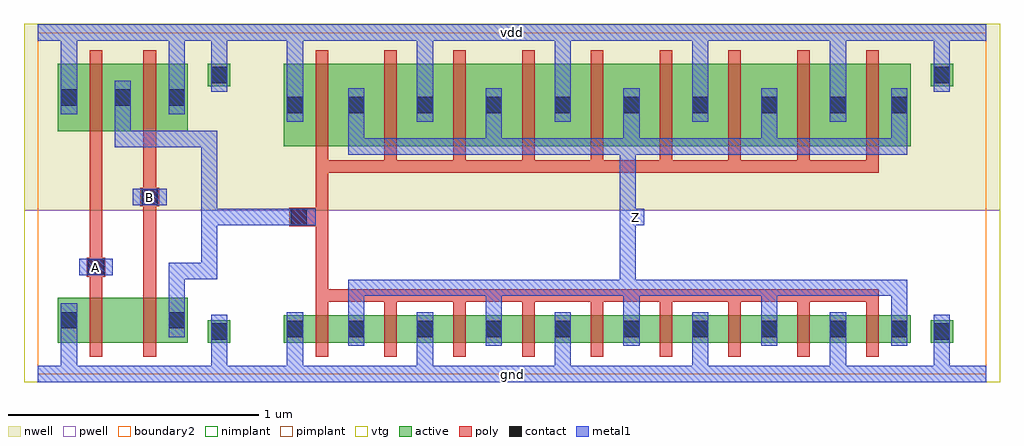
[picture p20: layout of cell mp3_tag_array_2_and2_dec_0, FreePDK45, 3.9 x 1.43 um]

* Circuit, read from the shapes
.subckt mp3_tag_array_2_and2_dec_0 A B Z gnd vdd
M1 mp3_tag_array_2_pnand2_0/mp3_tag_array_2_nmos_m1_w0_180_sm1_dactive_2/D A gnd gnd nfet w=0.18u l=0.05u
M2 mp3_tag_array_2_pinv_0_1/A B mp3_tag_array_2_pnand2_0/mp3_tag_array_2_nmos_m1_w0_180_sm1_dactive_2/D gnd nfet w=0.18u l=0.05u
M3 Z mp3_tag_array_2_pinv_0_1/A gnd gnd nfet w=0.11u l=0.05u m=9
M4 mp3_tag_array_2_pinv_0_1/A A vdd vdd pfet w=0.27u l=0.05u
M5 vdd B mp3_tag_array_2_pinv_0_1/A vdd pfet w=0.27u l=0.05u
M6 Z mp3_tag_array_2_pinv_0_1/A vdd vdd pfet w=0.33u l=0.05u m=9
.ends

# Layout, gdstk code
import gdstk
lib = gdstk.Library(unit=1e-6, precision=5e-10)
def R(c, l, rs):  # rectangles x0, y0, x1, y1
    for r in rs: c.add(gdstk.rectangle(r[:2], r[2:], *l))
def A(c, l, x, y, w, h, nx, ny, dx, dy):  # array of equal rectangles
    R(c, l, [(x+i*dx, y+j*dy, x+i*dx+w, y+j*dy+h) for i in range(nx) for j in range(ny)])
active = (1, 0)
pwell = (2, 0)
nwell = (3, 0)
nimplant = (4, 0)
pimplant = (5, 0)
vtg = (6, 0)
poly = (9, 0)
contact = (10, 0)
metal1 = (11, 0)
boundary2 = (239, 0)

mp3_tag_array_2_contact_ = lib.new_cell('mp3_tag_array_2_contact_11')
R(mp3_tag_array_2_contact_, active, [(0,0.0225,0.09,0.1125)])
R(mp3_tag_array_2_contact_, nwell, [(-0.055,-0.0325,0.145,0.1675)])
R(mp3_tag_array_2_contact_, pimplant, [(0,0.0225,0.09,0.1125)])
R(mp3_tag_array_2_contact_, contact, [(0.0125,0.035,0.0775,0.1)])
R(mp3_tag_array_2_contact_, metal1, [(0.0125,0,0.0775,0.135)])
R(mp3_tag_array_2_contact_, boundary2, [(-0.055,-0.0325,0.145,0.1675)])

mp3_tag_array_2_pmos_m1_ = lib.new_cell('mp3_tag_array_2_pmos_m1_w0_270_sm1_dm1')
R(mp3_tag_array_2_pmos_m1_, active, [(0,0,0.305,0.27)])
R(mp3_tag_array_2_pmos_m1_, nwell, [(-0.08,-0.08,0.385,0.35)])
R(mp3_tag_array_2_pmos_m1_, pimplant, [(0,0,0.305,0.27)])
R(mp3_tag_array_2_pmos_m1_, vtg, [(-0.08,-0.08,0.385,0.35)])
R(mp3_tag_array_2_pmos_m1_, poly, [(0.1275,-0.055,0.1775,0.325), (0.1275,-0.055,0.1775,0.325)])
R(mp3_tag_array_2_pmos_m1_, metal1, [(0.0125,0.0675,0.0775,0.2025), (0.2275,0.0675,0.2925,0.2025)])
R(mp3_tag_array_2_pmos_m1_, boundary2, [(-0.08,-0.08,0.385,0.35)])
mp3_tag_array_2_pmos_m1_.add(gdstk.Reference(mp3_tag_array_2_contact_, (0,0.0675)))
mp3_tag_array_2_pmos_m1_.add(gdstk.Reference(mp3_tag_array_2_contact_, (0.215,0.0675)))
mp3_tag_array_2_pmos_m1_.add(gdstk.Label('G', (0.1525,0.135), layer=9, texttype=0))
mp3_tag_array_2_pmos_m1_.add(gdstk.Label('S', (0.045,0.135), layer=11, texttype=0))
mp3_tag_array_2_pmos_m1_.add(gdstk.Label('D', (0.26,0.135), layer=11, texttype=0))

c_mp3_tag_array_2_contact_ = lib.new_cell('mp3_tag_array_2_contact_10')
R(c_mp3_tag_array_2_contact_, active, [(0,0.0225,0.09,0.1125)])
R(c_mp3_tag_array_2_contact_, pwell, [(-0.055,-0.0325,0.145,0.1675)])
R(c_mp3_tag_array_2_contact_, nimplant, [(0,0.0225,0.09,0.1125)])
R(c_mp3_tag_array_2_contact_, contact, [(0.0125,0.035,0.0775,0.1)])
R(c_mp3_tag_array_2_contact_, metal1, [(0.0125,0,0.0775,0.135)])
R(c_mp3_tag_array_2_contact_, boundary2, [(-0.055,-0.0325,0.145,0.1675)])

mp3_tag_array_2_nmos_m1_ = lib.new_cell('mp3_tag_array_2_nmos_m1_w0_180_sm1_dactive')
R(mp3_tag_array_2_nmos_m1_, active, [(0,0,0.305,0.18), (0.215,0.045,0.305,0.135)])
R(mp3_tag_array_2_nmos_m1_, pwell, [(-0.08,-0.08,0.385,0.26)])
R(mp3_tag_array_2_nmos_m1_, nimplant, [(0,0,0.305,0.18)])
R(mp3_tag_array_2_nmos_m1_, vtg, [(-0.08,-0.08,0.385,0.26)])
R(mp3_tag_array_2_nmos_m1_, poly, [(0.1275,-0.055,0.1775,0.235), (0.1275,-0.055,0.1775,0.235)])
R(mp3_tag_array_2_nmos_m1_, metal1, [(0.0125,0.0225,0.0775,0.1575)])
R(mp3_tag_array_2_nmos_m1_, boundary2, [(-0.08,-0.08,0.385,0.26)])
mp3_tag_array_2_nmos_m1_.add(gdstk.Reference(c_mp3_tag_array_2_contact_, (0,0.0225)))
mp3_tag_array_2_nmos_m1_.add(gdstk.Label('G', (0.1525,0.09), layer=9, texttype=0))
mp3_tag_array_2_nmos_m1_.add(gdstk.Label('S', (0.045,0.09), layer=11, texttype=0))
mp3_tag_array_2_nmos_m1_.add(gdstk.Label('D', (0.26,0.09), layer=1, texttype=0))

c_mp3_tag_array_2_nmos_m1_ = lib.new_cell('mp3_tag_array_2_nmos_m1_w0_180_sactive_dm1')
R(c_mp3_tag_array_2_nmos_m1_, active, [(0,0,0.305,0.18), (0,0.045,0.09,0.135)])
R(c_mp3_tag_array_2_nmos_m1_, pwell, [(-0.08,-0.08,0.385,0.26)])
R(c_mp3_tag_array_2_nmos_m1_, nimplant, [(0,0,0.305,0.18)])
R(c_mp3_tag_array_2_nmos_m1_, vtg, [(-0.08,-0.08,0.385,0.26)])
R(c_mp3_tag_array_2_nmos_m1_, poly, [(0.1275,-0.055,0.1775,0.235), (0.1275,-0.055,0.1775,0.235)])
R(c_mp3_tag_array_2_nmos_m1_, metal1, [(0.2275,0.0225,0.2925,0.1575)])
R(c_mp3_tag_array_2_nmos_m1_, boundary2, [(-0.08,-0.08,0.385,0.26)])
c_mp3_tag_array_2_nmos_m1_.add(gdstk.Reference(c_mp3_tag_array_2_contact_, (0.215,0.0225)))
c_mp3_tag_array_2_nmos_m1_.add(gdstk.Label('G', (0.1525,0.09), layer=9, texttype=0))
c_mp3_tag_array_2_nmos_m1_.add(gdstk.Label('S', (0.045,0.09), layer=1, texttype=0))
c_mp3_tag_array_2_nmos_m1_.add(gdstk.Label('D', (0.26,0.09), layer=11, texttype=0))

c_mp3_tag_array_2_contact__ = lib.new_cell('mp3_tag_array_2_contact_12')
R(c_mp3_tag_array_2_contact__, active, [(0,0.0225,0.09,0.1125)])
R(c_mp3_tag_array_2_contact__, nwell, [(-0.055,-0.0325,0.145,0.1675)])
R(c_mp3_tag_array_2_contact__, nimplant, [(0,0.0225,0.09,0.1125)])
R(c_mp3_tag_array_2_contact__, contact, [(0.0125,0.035,0.0775,0.1)])
R(c_mp3_tag_array_2_contact__, metal1, [(0.0125,0,0.0775,0.135)])
R(c_mp3_tag_array_2_contact__, boundary2, [(-0.055,-0.0325,0.145,0.1675)])

c_mp3_tag_array_2_contact___ = lib.new_cell('mp3_tag_array_2_contact_13')
R(c_mp3_tag_array_2_contact___, active, [(0,0.0225,0.09,0.1125)])
R(c_mp3_tag_array_2_contact___, pwell, [(-0.055,-0.0325,0.145,0.1675)])
R(c_mp3_tag_array_2_contact___, pimplant, [(0,0.0225,0.09,0.1125)])
R(c_mp3_tag_array_2_contact___, contact, [(0.0125,0.035,0.0775,0.1)])
R(c_mp3_tag_array_2_contact___, metal1, [(0.0125,0,0.0775,0.135)])
R(c_mp3_tag_array_2_contact___, boundary2, [(-0.055,-0.0325,0.145,0.1675)])

c_mp3_tag_array_2_contact____ = lib.new_cell('mp3_tag_array_2_contact_14')
R(c_mp3_tag_array_2_contact____, poly, [(0.03,0,0.105,0.075)])
R(c_mp3_tag_array_2_contact____, contact, [(0.035,0.005,0.1,0.07)])
R(c_mp3_tag_array_2_contact____, metal1, [(0,0.005,0.135,0.07)])
R(c_mp3_tag_array_2_contact____, boundary2, [(0,0,0.135,0.075)])

mp3_tag_array_2_pnand2 = lib.new_cell('mp3_tag_array_2_pnand2')
R(mp3_tag_array_2_pnand2, pwell, [(-0.055,-0.0325,0.9575,0.655)])
R(mp3_tag_array_2_pnand2, nwell, [(-0.055,0.655,0.9575,1.4)])
R(mp3_tag_array_2_pnand2, vtg, [(-0.055,-0.0325,0.9575,0.655), (-0.055,0.655,0.9575,1.4)])
R(mp3_tag_array_2_pnand2, poly, [(0.2075,0.36,0.2575,0.915), (0.4225,0.36,0.4725,0.915), (0.2075,0.39,0.2325,0.465), (0.4225,0.67,0.4475,0.745)])
R(mp3_tag_array_2_pnand2, metal1, [(0,-0.0325,0.9025,0.0325), (0.0925,-0.0325,0.1575,0.1475), (0.6925,0,0.7575,0.17), (0.5225,0.2825,0.5875,0.4125), (0.5225,0.38,0.5875,0.445), (0.555,0.38,0.685,0.445), (0.6525,0.38,0.7175,0.445), (0.165,0.395,0.3,0.46), (0.6525,0.4125,0.7175,0.94), (0.38,0.675,0.515,0.74), (0.3075,0.9075,0.3725,0.9725), (0.34,0.9075,0.685,0.9725), (0.6525,0.9075,0.7175,0.9725), (0.3075,0.94,0.3725,1.0375), (0.0925,1.0375,0.1575,1.3975), (0.5225,1.0375,0.5875,1.3975), (0.6925,1.195,0.7575,1.365), (0,1.3325,0.9025,1.3975)])
R(mp3_tag_array_2_pnand2, boundary2, [(0,0,0.9025,1.365), (0,0,0.9025,1.365)])
mp3_tag_array_2_pnand2.add(gdstk.Reference(mp3_tag_array_2_pmos_m1_, (0.08,0.97)))
mp3_tag_array_2_pnand2.add(gdstk.Reference(mp3_tag_array_2_pmos_m1_, (0.295,0.97)))
mp3_tag_array_2_pnand2.add(gdstk.Reference(mp3_tag_array_2_nmos_m1_, (0.08,0.125)))
mp3_tag_array_2_pnand2.add(gdstk.Reference(c_mp3_tag_array_2_nmos_m1_, (0.295,0.125)))
mp3_tag_array_2_pnand2.add(gdstk.Reference(c_mp3_tag_array_2_contact__, (0.68,1.1275)))
mp3_tag_array_2_pnand2.add(gdstk.Reference(c_mp3_tag_array_2_contact___, (0.68,0.1025)))
mp3_tag_array_2_pnand2.add(gdstk.Reference(c_mp3_tag_array_2_contact____, (0.165,0.39)))
mp3_tag_array_2_pnand2.add(gdstk.Reference(c_mp3_tag_array_2_contact____, (0.38,0.67)))
mp3_tag_array_2_pnand2.add(gdstk.Label('Z', (0.685,0.94), layer=11, texttype=0))
mp3_tag_array_2_pnand2.add(gdstk.Label('gnd', (0.451,0), layer=11, texttype=0))
mp3_tag_array_2_pnand2.add(gdstk.Label('vdd', (0.451,1.365), layer=11, texttype=0))
mp3_tag_array_2_pnand2.add(gdstk.Label('A', (0.2325,0.4275), layer=11, texttype=0))
mp3_tag_array_2_pnand2.add(gdstk.Label('B', (0.4475,0.7075), layer=11, texttype=0))

mp3_tag_array_2_pmos_m9_ = lib.new_cell('mp3_tag_array_2_pmos_m9_w0_330_sm1_dm1_da_p')
R(mp3_tag_array_2_pmos_m9_, active, [(0,0,2.505,0.33)])
R(mp3_tag_array_2_pmos_m9_, nwell, [(-0.08,-0.08,2.585,0.41)])
R(mp3_tag_array_2_pmos_m9_, pimplant, [(0,0,2.505,0.33)])
R(mp3_tag_array_2_pmos_m9_, vtg, [(-0.08,-0.08,2.585,0.41)])
A(mp3_tag_array_2_pmos_m9_, poly, 0.1275, -0.055, 0.05, 0.44, 9, 1, 0.275, 0)
R(mp3_tag_array_2_pmos_m9_, poly, [(0.1275,-0.105,2.3775,-0.055)])
A(mp3_tag_array_2_pmos_m9_, metal1, 0.2575, 0, 0.065, 0.165, 4, 1, 0.55, 0)
A(mp3_tag_array_2_pmos_m9_, metal1, 0.5325, 0.0975, 0.065, 0.135, 4, 1, 0.55, 0)
R(mp3_tag_array_2_pmos_m9_, metal1, [(0.2575,-0.0325,2.4925,0.0325), (2.4275,0,2.4925,0.165), (0.0125,0.0975,0.0775,0.2325)])
R(mp3_tag_array_2_pmos_m9_, boundary2, [(-0.08,-0.105,2.585,0.41)])
mp3_tag_array_2_pmos_m9_.add(gdstk.Reference(mp3_tag_array_2_contact_, (0,0.0975)))
mp3_tag_array_2_pmos_m9_.add(gdstk.Reference(mp3_tag_array_2_contact_, (0.245,0.0975)))
mp3_tag_array_2_pmos_m9_.add(gdstk.Reference(mp3_tag_array_2_contact_, (0.52,0.0975)))
mp3_tag_array_2_pmos_m9_.add(gdstk.Reference(mp3_tag_array_2_contact_, (0.795,0.0975)))
mp3_tag_array_2_pmos_m9_.add(gdstk.Reference(mp3_tag_array_2_contact_, (1.07,0.0975)))
mp3_tag_array_2_pmos_m9_.add(gdstk.Reference(mp3_tag_array_2_contact_, (1.345,0.0975)))
mp3_tag_array_2_pmos_m9_.add(gdstk.Reference(mp3_tag_array_2_contact_, (1.62,0.0975)))
mp3_tag_array_2_pmos_m9_.add(gdstk.Reference(mp3_tag_array_2_contact_, (1.895,0.0975)))
mp3_tag_array_2_pmos_m9_.add(gdstk.Reference(mp3_tag_array_2_contact_, (2.17,0.0975)))
mp3_tag_array_2_pmos_m9_.add(gdstk.Reference(mp3_tag_array_2_contact_, (2.415,0.0975)))
mp3_tag_array_2_pmos_m9_.add(gdstk.Label('G', (1.2525,-0.08), layer=9, texttype=0))
mp3_tag_array_2_pmos_m9_.add(gdstk.Label('S', (2.215,0.165), layer=11, texttype=0))
mp3_tag_array_2_pmos_m9_.add(gdstk.Label('S', (0.565,0.165), layer=11, texttype=0))
mp3_tag_array_2_pmos_m9_.add(gdstk.Label('S', (1.665,0.165), layer=11, texttype=0))
mp3_tag_array_2_pmos_m9_.add(gdstk.Label('S', (1.115,0.165), layer=11, texttype=0))
mp3_tag_array_2_pmos_m9_.add(gdstk.Label('S', (0.045,0.165), layer=11, texttype=0))
mp3_tag_array_2_pmos_m9_.add(gdstk.Label('D', (1.375,0), layer=11, texttype=0))

mp3_tag_array_2_nmos_m9_ = lib.new_cell('mp3_tag_array_2_nmos_m9_w0_110_sm1_dm1_da_p')
R(mp3_tag_array_2_nmos_m9_, active, [(0,0,2.505,0.11)])
R(mp3_tag_array_2_nmos_m9_, pwell, [(-0.08,-0.08,2.585,0.19)])
R(mp3_tag_array_2_nmos_m9_, nimplant, [(0,0,2.505,0.11)])
R(mp3_tag_array_2_nmos_m9_, vtg, [(-0.08,-0.08,2.585,0.19)])
A(mp3_tag_array_2_nmos_m9_, poly, 0.1275, -0.055, 0.05, 0.22, 9, 1, 0.275, 0)
R(mp3_tag_array_2_nmos_m9_, poly, [(0.1275,0.165,2.3775,0.215)])
A(mp3_tag_array_2_nmos_m9_, metal1, 0.5325, -0.0125, 0.065, 0.135, 4, 1, 0.55, 0)
A(mp3_tag_array_2_nmos_m9_, metal1, 0.2575, 0.055, 0.065, 0.165, 4, 1, 0.55, 0)
R(mp3_tag_array_2_nmos_m9_, metal1, [(0.0125,-0.0125,0.0775,0.1225), (2.4275,0.055,2.4925,0.22), (0.2575,0.1875,2.4925,0.2525)])
R(mp3_tag_array_2_nmos_m9_, boundary2, [(-0.08,-0.08,2.585,0.2525)])
mp3_tag_array_2_nmos_m9_.add(gdstk.Reference(c_mp3_tag_array_2_contact_, (0,-0.0125)))
mp3_tag_array_2_nmos_m9_.add(gdstk.Reference(c_mp3_tag_array_2_contact_, (0.245,-0.0125)))
mp3_tag_array_2_nmos_m9_.add(gdstk.Reference(c_mp3_tag_array_2_contact_, (0.52,-0.0125)))
mp3_tag_array_2_nmos_m9_.add(gdstk.Reference(c_mp3_tag_array_2_contact_, (0.795,-0.0125)))
mp3_tag_array_2_nmos_m9_.add(gdstk.Reference(c_mp3_tag_array_2_contact_, (1.07,-0.0125)))
mp3_tag_array_2_nmos_m9_.add(gdstk.Reference(c_mp3_tag_array_2_contact_, (1.345,-0.0125)))
mp3_tag_array_2_nmos_m9_.add(gdstk.Reference(c_mp3_tag_array_2_contact_, (1.62,-0.0125)))
mp3_tag_array_2_nmos_m9_.add(gdstk.Reference(c_mp3_tag_array_2_contact_, (1.895,-0.0125)))
mp3_tag_array_2_nmos_m9_.add(gdstk.Reference(c_mp3_tag_array_2_contact_, (2.17,-0.0125)))
mp3_tag_array_2_nmos_m9_.add(gdstk.Reference(c_mp3_tag_array_2_contact_, (2.415,-0.0125)))
mp3_tag_array_2_nmos_m9_.add(gdstk.Label('G', (1.2525,0.19), layer=9, texttype=0))
mp3_tag_array_2_nmos_m9_.add(gdstk.Label('S', (0.045,0.055), layer=11, texttype=0))
mp3_tag_array_2_nmos_m9_.add(gdstk.Label('S', (1.115,0.055), layer=11, texttype=0))
mp3_tag_array_2_nmos_m9_.add(gdstk.Label('S', (2.215,0.055), layer=11, texttype=0))
mp3_tag_array_2_nmos_m9_.add(gdstk.Label('S', (1.665,0.055), layer=11, texttype=0))
mp3_tag_array_2_nmos_m9_.add(gdstk.Label('S', (0.565,0.055), layer=11, texttype=0))
mp3_tag_array_2_nmos_m9_.add(gdstk.Label('D', (1.375,0.22), layer=11, texttype=0))

mp3_tag_array_2_pinv_0 = lib.new_cell('mp3_tag_array_2_pinv_0')
R(mp3_tag_array_2_pinv_0, pwell, [(-0.055,-0.0325,2.9425,0.655)])
R(mp3_tag_array_2_pinv_0, nwell, [(-0.055,0.655,2.9425,1.4)])
R(mp3_tag_array_2_pinv_0, vtg, [(-0.055,-0.0325,2.9425,0.655), (-0.055,0.655,2.9425,1.4)])
R(mp3_tag_array_2_pinv_0, poly, [(0.2075,0.34,0.2575,0.805), (0.14,0.59,0.2075,0.665)])
A(mp3_tag_array_2_pinv_0, metal1, 0.6125, -0.0325, 0.065, 0.145, 4, 1, 0.55, 0)
A(mp3_tag_array_2_pinv_0, metal1, 0.6125, 1.0075, 0.065, 0.39, 4, 1, 0.55, 0)
R(mp3_tag_array_2_pinv_0, metal1, [(0,-0.0325,2.8875,0.0325), (0.0925,-0.0325,0.1575,0.1125), (2.6775,0,2.7425,0.17), (1.4225,0.3125,1.4875,0.9425), (0.0725,0.595,0.2075,0.66), (1.455,0.595,1.52,0.66), (0.0925,1.0075,0.1575,1.3975), (2.6775,1.195,2.7425,1.365), (0,1.3325,2.8875,1.3975)])
R(mp3_tag_array_2_pinv_0, boundary2, [(0,0,2.8875,1.365), (0,0,2.8875,1.365)])
mp3_tag_array_2_pinv_0.add(gdstk.Reference(mp3_tag_array_2_pmos_m9_, (0.08,0.91)))
mp3_tag_array_2_pinv_0.add(gdstk.Reference(mp3_tag_array_2_nmos_m9_, (0.08,0.125)))
mp3_tag_array_2_pinv_0.add(gdstk.Reference(c_mp3_tag_array_2_contact__, (2.665,1.1275)))
mp3_tag_array_2_pinv_0.add(gdstk.Reference(c_mp3_tag_array_2_contact___, (2.665,0.1025)))
mp3_tag_array_2_pinv_0.add(gdstk.Reference(c_mp3_tag_array_2_contact____, (0.0725,0.59)))
mp3_tag_array_2_pinv_0.add(gdstk.Label('A', (0.14,0.6275), layer=11, texttype=0))
mp3_tag_array_2_pinv_0.add(gdstk.Label('Z', (1.4875,0.6275), layer=11, texttype=0))
mp3_tag_array_2_pinv_0.add(gdstk.Label('gnd', (1.444,0), layer=11, texttype=0))
mp3_tag_array_2_pinv_0.add(gdstk.Label('vdd', (1.444,1.365), layer=11, texttype=0))

mp3_tag_array_2_and2_dec = lib.new_cell('mp3_tag_array_2_and2_dec_0')
R(mp3_tag_array_2_and2_dec, metal1, [(0,-0.0325,3.79,0.0325), (0.165,0.395,0.3,0.46), (0.6525,0.595,0.7175,0.66), (0.685,0.595,1.0425,0.66), (2.3575,0.595,2.4225,0.66), (0.6525,0.6275,0.7175,0.94), (0.38,0.675,0.515,0.74), (0,1.3325,3.79,1.3975)])
R(mp3_tag_array_2_and2_dec, boundary2, [(0,0,3.79,1.365)])
mp3_tag_array_2_and2_dec.add(gdstk.Reference(mp3_tag_array_2_pnand2, (0,0)))
mp3_tag_array_2_and2_dec.add(gdstk.Reference(mp3_tag_array_2_pinv_0, (0.9025,0)))
mp3_tag_array_2_and2_dec.add(gdstk.Label('Z', (2.39,0.6275), layer=11, texttype=0))
mp3_tag_array_2_and2_dec.add(gdstk.Label('A', (0.2325,0.4275), layer=11, texttype=0))
mp3_tag_array_2_and2_dec.add(gdstk.Label('B', (0.4475,0.7075), layer=11, texttype=0))
mp3_tag_array_2_and2_dec.add(gdstk.Label('gnd', (1.895,0), layer=11, texttype=0))
mp3_tag_array_2_and2_dec.add(gdstk.Label('vdd', (1.895,1.365), layer=11, texttype=0))

lib.write_gds('mp3_tag_array_2_and2_dec_0.gds')
